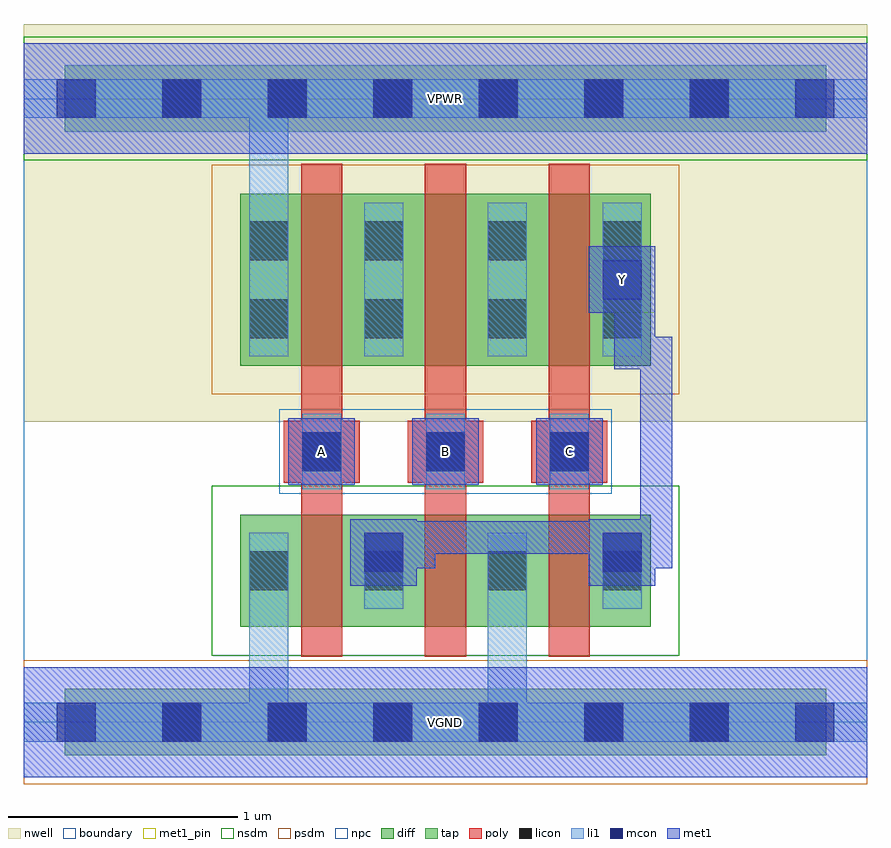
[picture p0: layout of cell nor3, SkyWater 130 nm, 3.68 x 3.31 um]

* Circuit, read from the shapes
.subckt nor3 A B C VGND VPWR Y
XM1 Y A VGND VGND sky130_fd_pr__nfet_01v8 w=0.49 l=0.18
XM2 VGND B Y VGND sky130_fd_pr__nfet_01v8 w=0.49 l=0.18
XM3 Y C VGND VGND sky130_fd_pr__nfet_01v8 w=0.49 l=0.18
XM4 n1 A VPWR VPWR sky130_fd_pr__pfet_01v8 w=0.75 l=0.18
XM5 n2 B n1 VPWR sky130_fd_pr__pfet_01v8 w=0.75 l=0.18
XM6 Y C n2 VPWR sky130_fd_pr__pfet_01v8 w=0.75 l=0.18
.ends

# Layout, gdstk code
import gdstk
lib = gdstk.Library(unit=1e-6, precision=1e-09)
def R(c, l, rs):  # rectangles x0, y0, x1, y1
    for r in rs: c.add(gdstk.rectangle(r[:2], r[2:], *l))
def A(c, l, x, y, w, h, nx, ny, dx, dy):  # array of equal rectangles
    R(c, l, [(x+i*dx, y+j*dy, x+i*dx+w, y+j*dy+h) for i in range(nx) for j in range(ny)])
nwell = (64, 20)
diff = (65, 20)
tap = (65, 44)
poly = (66, 20)
licon = (66, 44)
li1 = (67, 20)
mcon = (67, 44)
met1_pin = (68, 16)
met1 = (68, 20)
nsdm = (93, 44)
psdm = (94, 20)
npc = (95, 20)
boundary = (235, 4)

nor3 = lib.new_cell('nor3')
R(nor3, nwell, [(0,1.31,3.68,3.045)])
R(nor3, diff, [(0.945,0.415,2.735,0.905), (0.945,1.555,2.735,2.305)])
R(nor3, tap, [(0.18,-0.145,3.5,0.145), (0.18,2.575,3.5,2.865)])
A(nor3, poly, 1.21, 0.285, 0.18, 2.15, 3, 1, 0.54, 0)
A(nor3, poly, 1.135, 1.045, 0.33, 0.27, 3, 1, 0.54, 0)
A(nor3, licon, 0.605, -0.085, 0.17, 0.17, 6, 2, 0.46, 2.72)
A(nor3, licon, 1.215, 1.095, 0.17, 0.17, 3, 1, 0.54, 0)
R(nor3, licon, [(0.985,0.575,1.155,0.745), (1.485,0.575,1.655,0.745), (2.025,0.575,2.195,0.745), (2.525,0.575,2.695,0.745), (0.985,1.675,1.155,1.845), (1.485,1.675,1.655,1.845), (2.025,1.675,2.195,1.845), (2.525,1.675,2.695,1.845), (0.985,2.015,1.155,2.185), (1.485,2.015,1.655,2.185), (2.025,2.015,2.195,2.185), (2.525,2.015,2.695,2.185)])
A(nor3, li1, 1.215, 1.015, 0.17, 0.33, 3, 1, 0.54, 0)
R(nor3, li1, [(0,-0.085,3.68,0.085), (0.985,-0.085,1.155,0.825), (2.025,-0.085,2.195,0.825), (0.985,0.495,1.155,0.825), (1.485,0.495,1.655,0.825), (2.025,0.495,2.195,0.825), (2.525,0.495,2.695,0.825), (0.985,1.595,1.155,2.265), (0.985,1.595,1.155,2.805), (1.485,1.595,1.655,2.265), (2.025,1.595,2.195,2.265), (2.525,1.595,2.695,2.265), (0,2.635,3.68,2.805)])
A(nor3, mcon, 0.145, -0.085, 0.17, 0.17, 8, 2, 0.46, 2.72)
A(nor3, mcon, 1.215, 1.095, 0.17, 0.17, 3, 1, 0.54, 0)
R(nor3, mcon, [(1.485,0.655,1.655,0.825), (2.525,0.655,2.695,0.825), (2.525,1.845,2.695,2.015)])
A(nor3, met1_pin, 1.155, 1.035, 0.29, 0.29, 3, 1, 0.54, 0)
R(nor3, met1_pin, [(0,-0.24,3.68,0.24), (2.465,1.785,2.755,2.075), (0,2.48,3.68,2.96)])
A(nor3, met1, 1.155, 1.035, 0.29, 0.29, 3, 1, 0.54, 0)
R(nor3, met1, [(0,-0.24,3.68,0.24), (1.425,0.595,1.715,0.885), (2.465,0.595,2.755,0.885), (1.5,0.67,1.795,0.81), (1.655,0.67,1.795,0.875), (2.54,0.67,2.83,0.81), (2.69,0.67,2.83,0.99), (1.655,0.735,2.83,0.875), (2.69,0.735,2.83,0.99), (2.69,0.85,2.83,1.68), (2.575,1.54,2.715,2.025), (2.575,1.54,2.83,1.68), (2.575,1.68,2.755,1.785), (2.69,1.68,2.755,1.785), (2.465,1.785,2.755,2.075), (2.575,1.885,2.715,2.025), (0,2.48,3.68,2.96)])
R(nor3, nsdm, [(0.82,0.29,2.86,1.03), (0,2.45,3.68,2.99)])
R(nor3, psdm, [(0,-0.27,3.68,0.27), (0.82,1.43,2.86,2.43)])
R(nor3, npc, [(1.115,0.995,2.565,1.365)])
R(nor3, boundary, [(0,0,3.68,2.72)])
nor3.add(gdstk.Label('A', (1.3,1.18), layer=68, texttype=5))
nor3.add(gdstk.Label('B', (1.84,1.18), layer=68, texttype=5))
nor3.add(gdstk.Label('C', (2.38,1.18), layer=68, texttype=5))
nor3.add(gdstk.Label('Y', (2.61,1.93), layer=68, texttype=5))
nor3.add(gdstk.Label('VPWR', (1.84,2.72), layer=68, texttype=5))
nor3.add(gdstk.Label('VGND', (1.84,0), layer=68, texttype=5))
nor3.add(gdstk.Label('A', (1.3,1.18), layer=68, texttype=16))
nor3.add(gdstk.Label('B', (1.84,1.18), layer=68, texttype=16))
nor3.add(gdstk.Label('C', (2.38,1.18), layer=68, texttype=16))
nor3.add(gdstk.Label('Y', (2.61,1.93), layer=68, texttype=16))
nor3.add(gdstk.Label('VPWR', (1.84,2.72), layer=68, texttype=16))
nor3.add(gdstk.Label('VGND', (1.84,0), layer=68, texttype=16))

lib.write_gds('nor3.gds')
